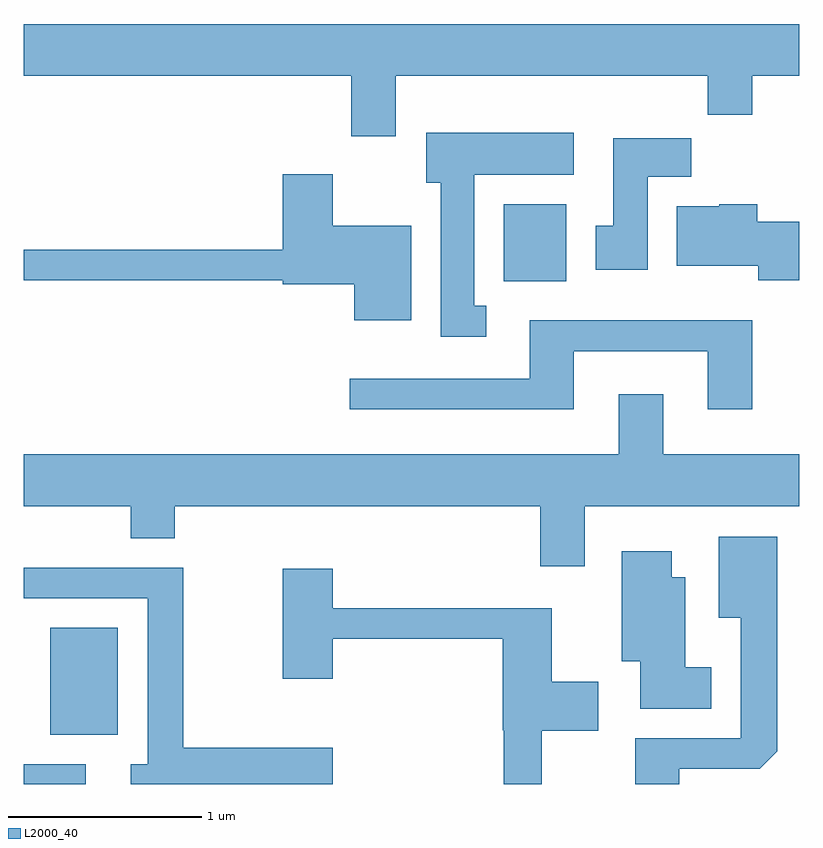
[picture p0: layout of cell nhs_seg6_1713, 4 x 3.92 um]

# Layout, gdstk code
import gdstk
lib = gdstk.Library(unit=1e-6, precision=1e-09)
def R(c, l, rs):  # rectangles x0, y0, x1, y1
    for r in rs: c.add(gdstk.rectangle(r[:2], r[2:], *l))
def P(c, l, *ps):  # polygons
    for p in ps: c.add(gdstk.Polygon(p, *l))
L2000_40 = (2000, 40)

nhs_seg6_1713 = lib.new_cell('nhs_seg6_1713')
R(nhs_seg6_1713, L2000_40, [(237.611,1544.162,237.929,1544.264), (237.746,1544.416,238.094,1544.969), (240.086,1546.756,240.409,1547.154)])
P(nhs_seg6_1713, L2000_40, [(239.529,1547.816),(241.141,1547.816),(241.141,1547.616),(241.369,1547.616),(241.369,1547.816),(241.611,1547.816),(241.611,1548.084),(237.611,1548.084),(237.611,1547.816),(239.301,1547.816),(239.301,1547.506),(239.529,1547.506)],
  [(239.998,1546.629),(239.934,1546.629),(239.934,1547.306),(240.449,1547.306),(240.449,1547.524),(239.686,1547.524),(239.686,1547.266),(239.761,1547.266),(239.761,1546.471),(239.998,1546.471)],
  [(240.829,1547.296),(241.054,1547.296),(241.054,1547.494),(240.651,1547.494),(240.651,1547.044),(240.561,1547.044),(240.561,1546.816),(240.829,1546.816)],
  [(239.609,1547.044),(239.204,1547.044),(239.204,1547.309),(238.946,1547.309),(238.946,1546.919),(237.611,1546.919),(237.611,1546.761),(238.946,1546.761),(238.946,1546.741),(239.316,1546.741),(239.316,1546.556),(239.609,1546.556)],
  [(241.611,1547.064),(241.394,1547.064),(241.394,1547.154),(241.2,1547.154),(241.2,1547.144),(240.981,1547.144),(240.981,1546.836),(241.401,1546.836),(241.401,1546.761),(241.611,1546.761)],
  [(240.449,1546.396),(241.141,1546.396),(241.141,1546.096),(241.369,1546.096),(241.369,1546.554),(240.221,1546.554),(240.221,1546.254),(239.293,1546.254),(239.293,1546.096),(240.449,1546.096)],
  [(240.504,1545.596),(241.611,1545.596),(241.611,1545.864),(240.909,1545.864),(240.909,1546.174),(240.681,1546.174),(240.681,1545.864),(237.611,1545.864),(237.611,1545.596),(238.161,1545.596),(238.161,1545.431),(238.389,1545.431),(238.389,1545.596),(240.276,1545.596),(240.276,1545.286),(240.504,1545.286)],
  [(240.994,1544.241),(241.409,1544.241),(241.499,1544.332),(241.499,1545.439),(241.196,1545.439),(241.196,1545.021),(241.311,1545.021),(241.311,1544.399),(240.766,1544.399),(240.766,1544.162),(240.994,1544.162)],
  [(241.159,1544.764),(241.024,1544.764),(241.024,1545.229),(240.954,1545.229),(240.954,1545.364),(240.696,1545.364),(240.696,1544.796),(240.791,1544.796),(240.791,1544.551),(241.159,1544.551)],
  [(239.204,1544.349),(238.434,1544.349),(238.434,1545.279),(237.611,1545.279),(237.611,1545.121),(238.251,1545.121),(238.251,1544.264),(238.161,1544.264),(238.161,1544.162),(239.204,1544.162)],
  [(240.284,1544.436),(240.574,1544.436),(240.574,1544.689),(240.334,1544.689),(240.334,1545.069),(239.204,1545.069),(239.204,1545.274),(238.946,1545.274),(238.946,1544.706),(239.204,1544.706),(239.204,1544.911),(240.081,1544.911),(240.081,1544.44),(240.086,1544.44),(240.086,1544.162),(240.284,1544.162)])

lib.write_gds('nhs_seg6_1713.gds')
